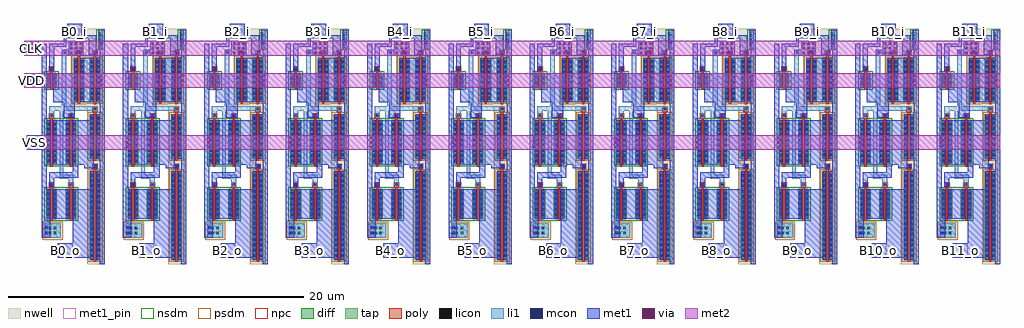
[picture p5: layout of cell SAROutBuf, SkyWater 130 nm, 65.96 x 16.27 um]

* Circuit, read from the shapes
.subckt SAROutBuf B0_i B0_o B10_i B10_o B11_i B11_o B1_i B1_o B2_i B2_o B3_i B3_o B4_i B4_o B5_i B5_o B6_i B6_o B7_i B7_o B8_i B8_o B9_i B9_o CLK VDD VSS
XM1 n1 n2 VSS VSS sky130_fd_pr__nfet_01v8 w=2 l=0.15
XM2 n3 CLK VSS VSS sky130_fd_pr__nfet_01v8 w=3 l=0.15
XM3 n4 B0_i VSS VSS sky130_fd_pr__nfet_01v8 w=1 l=0.15
XM4 B0_o CLK n1 VSS sky130_fd_pr__nfet_01v8 w=2 l=0.15
XM5 n2 n4 n3 VSS sky130_fd_pr__nfet_01v8 w=3 l=0.15
XM6 n5 n6 VSS VSS sky130_fd_pr__nfet_01v8 w=2 l=0.15
XM7 n7 CLK VSS VSS sky130_fd_pr__nfet_01v8 w=3 l=0.15
XM8 n8 B1_i VSS VSS sky130_fd_pr__nfet_01v8 w=1 l=0.15
XM9 B1_o CLK n5 VSS sky130_fd_pr__nfet_01v8 w=2 l=0.15
XM10 n6 n8 n7 VSS sky130_fd_pr__nfet_01v8 w=3 l=0.15
XM11 n9 n10 VSS VSS sky130_fd_pr__nfet_01v8 w=2 l=0.15
XM12 n11 CLK VSS VSS sky130_fd_pr__nfet_01v8 w=3 l=0.15
XM13 n12 B2_i VSS VSS sky130_fd_pr__nfet_01v8 w=1 l=0.15
XM14 B2_o CLK n9 VSS sky130_fd_pr__nfet_01v8 w=2 l=0.15
XM15 n10 n12 n11 VSS sky130_fd_pr__nfet_01v8 w=3 l=0.15
XM16 n13 n14 VSS VSS sky130_fd_pr__nfet_01v8 w=2 l=0.15
XM17 n15 CLK VSS VSS sky130_fd_pr__nfet_01v8 w=3 l=0.15
XM18 n16 B3_i VSS VSS sky130_fd_pr__nfet_01v8 w=1 l=0.15
XM19 B3_o CLK n13 VSS sky130_fd_pr__nfet_01v8 w=2 l=0.15
XM20 n14 n16 n15 VSS sky130_fd_pr__nfet_01v8 w=3 l=0.15
XM21 n17 n18 VSS VSS sky130_fd_pr__nfet_01v8 w=2 l=0.15
XM22 n19 CLK VSS VSS sky130_fd_pr__nfet_01v8 w=3 l=0.15
XM23 n20 B4_i VSS VSS sky130_fd_pr__nfet_01v8 w=1 l=0.15
XM24 B4_o CLK n17 VSS sky130_fd_pr__nfet_01v8 w=2 l=0.15
XM25 n18 n20 n19 VSS sky130_fd_pr__nfet_01v8 w=3 l=0.15
XM26 n21 n22 VSS VSS sky130_fd_pr__nfet_01v8 w=2 l=0.15
XM27 n23 CLK VSS VSS sky130_fd_pr__nfet_01v8 w=3 l=0.15
XM28 n24 B5_i VSS VSS sky130_fd_pr__nfet_01v8 w=1 l=0.15
XM29 B5_o CLK n21 VSS sky130_fd_pr__nfet_01v8 w=2 l=0.15
XM30 n22 n24 n23 VSS sky130_fd_pr__nfet_01v8 w=3 l=0.15
XM31 n25 n26 VSS VSS sky130_fd_pr__nfet_01v8 w=2 l=0.15
XM32 n27 CLK VSS VSS sky130_fd_pr__nfet_01v8 w=3 l=0.15
XM33 n28 B6_i VSS VSS sky130_fd_pr__nfet_01v8 w=1 l=0.15
XM34 B6_o CLK n25 VSS sky130_fd_pr__nfet_01v8 w=2 l=0.15
XM35 n26 n28 n27 VSS sky130_fd_pr__nfet_01v8 w=3 l=0.15
XM36 n29 n30 VSS VSS sky130_fd_pr__nfet_01v8 w=2 l=0.15
XM37 n31 CLK VSS VSS sky130_fd_pr__nfet_01v8 w=3 l=0.15
XM38 n32 B7_i VSS VSS sky130_fd_pr__nfet_01v8 w=1 l=0.15
XM39 B7_o CLK n29 VSS sky130_fd_pr__nfet_01v8 w=2 l=0.15
XM40 n30 n32 n31 VSS sky130_fd_pr__nfet_01v8 w=3 l=0.15
XM41 n33 n34 VSS VSS sky130_fd_pr__nfet_01v8 w=2 l=0.15
XM42 n35 CLK VSS VSS sky130_fd_pr__nfet_01v8 w=3 l=0.15
XM43 n36 B8_i VSS VSS sky130_fd_pr__nfet_01v8 w=1 l=0.15
XM44 B8_o CLK n33 VSS sky130_fd_pr__nfet_01v8 w=2 l=0.15
XM45 n34 n36 n35 VSS sky130_fd_pr__nfet_01v8 w=3 l=0.15
XM46 n37 n38 VSS VSS sky130_fd_pr__nfet_01v8 w=2 l=0.15
XM47 n39 CLK VSS VSS sky130_fd_pr__nfet_01v8 w=3 l=0.15
XM48 n40 B9_i VSS VSS sky130_fd_pr__nfet_01v8 w=1 l=0.15
XM49 B9_o CLK n37 VSS sky130_fd_pr__nfet_01v8 w=2 l=0.15
XM50 n38 n40 n39 VSS sky130_fd_pr__nfet_01v8 w=3 l=0.15
XM51 n41 n42 VSS VSS sky130_fd_pr__nfet_01v8 w=2 l=0.15
XM52 n43 CLK VSS VSS sky130_fd_pr__nfet_01v8 w=3 l=0.15
XM53 n44 B10_i VSS VSS sky130_fd_pr__nfet_01v8 w=1 l=0.15
XM54 B10_o CLK n41 VSS sky130_fd_pr__nfet_01v8 w=2 l=0.15
XM55 n42 n44 n43 VSS sky130_fd_pr__nfet_01v8 w=3 l=0.15
XM56 n45 n46 VSS VSS sky130_fd_pr__nfet_01v8 w=2 l=0.15
XM57 n47 CLK VSS VSS sky130_fd_pr__nfet_01v8 w=3 l=0.15
XM58 n48 B11_i VSS VSS sky130_fd_pr__nfet_01v8 w=1 l=0.15
XM59 B11_o CLK n45 VSS sky130_fd_pr__nfet_01v8 w=2 l=0.15
XM60 n46 n48 n47 VSS sky130_fd_pr__nfet_01v8 w=3 l=0.15
XM61 n49 CLK n4 VDD sky130_fd_pr__pfet_01v8 w=3 l=0.15
XM62 VDD B0_i n49 VDD sky130_fd_pr__pfet_01v8 w=3 l=0.15
XM63 VDD n2 B0_o VDD sky130_fd_pr__pfet_01v8 w=6 l=0.15
XM64 VDD CLK n2 VDD sky130_fd_pr__pfet_01v8 w=3 l=0.15
XM65 n50 CLK n8 VDD sky130_fd_pr__pfet_01v8 w=3 l=0.15
XM66 VDD B1_i n50 VDD sky130_fd_pr__pfet_01v8 w=3 l=0.15
XM67 VDD n6 B1_o VDD sky130_fd_pr__pfet_01v8 w=6 l=0.15
XM68 VDD CLK n6 VDD sky130_fd_pr__pfet_01v8 w=3 l=0.15
XM69 n51 CLK n12 VDD sky130_fd_pr__pfet_01v8 w=3 l=0.15
XM70 VDD B2_i n51 VDD sky130_fd_pr__pfet_01v8 w=3 l=0.15
XM71 VDD n10 B2_o VDD sky130_fd_pr__pfet_01v8 w=6 l=0.15
XM72 VDD CLK n10 VDD sky130_fd_pr__pfet_01v8 w=3 l=0.15
XM73 n52 CLK n16 VDD sky130_fd_pr__pfet_01v8 w=3 l=0.15
XM74 VDD B3_i n52 VDD sky130_fd_pr__pfet_01v8 w=3 l=0.15
XM75 VDD n14 B3_o VDD sky130_fd_pr__pfet_01v8 w=6 l=0.15
XM76 VDD CLK n14 VDD sky130_fd_pr__pfet_01v8 w=3 l=0.15
XM77 n53 CLK n20 VDD sky130_fd_pr__pfet_01v8 w=3 l=0.15
XM78 VDD B4_i n53 VDD sky130_fd_pr__pfet_01v8 w=3 l=0.15
XM79 VDD n18 B4_o VDD sky130_fd_pr__pfet_01v8 w=6 l=0.15
XM80 VDD CLK n18 VDD sky130_fd_pr__pfet_01v8 w=3 l=0.15
XM81 n54 CLK n24 VDD sky130_fd_pr__pfet_01v8 w=3 l=0.15
XM82 VDD B5_i n54 VDD sky130_fd_pr__pfet_01v8 w=3 l=0.15
XM83 VDD n22 B5_o VDD sky130_fd_pr__pfet_01v8 w=6 l=0.15
XM84 VDD CLK n22 VDD sky130_fd_pr__pfet_01v8 w=3 l=0.15
XM85 n55 CLK n28 VDD sky130_fd_pr__pfet_01v8 w=3 l=0.15
XM86 VDD B6_i n55 VDD sky130_fd_pr__pfet_01v8 w=3 l=0.15
XM87 VDD n26 B6_o VDD sky130_fd_pr__pfet_01v8 w=6 l=0.15
XM88 VDD CLK n26 VDD sky130_fd_pr__pfet_01v8 w=3 l=0.15
XM89 n56 CLK n32 VDD sky130_fd_pr__pfet_01v8 w=3 l=0.15
XM90 VDD B7_i n56 VDD sky130_fd_pr__pfet_01v8 w=3 l=0.15
XM91 VDD n30 B7_o VDD sky130_fd_pr__pfet_01v8 w=6 l=0.15
XM92 VDD CLK n30 VDD sky130_fd_pr__pfet_01v8 w=3 l=0.15
XM93 n57 CLK n36 VDD sky130_fd_pr__pfet_01v8 w=3 l=0.15
XM94 VDD B8_i n57 VDD sky130_fd_pr__pfet_01v8 w=3 l=0.15
XM95 VDD n34 B8_o VDD sky130_fd_pr__pfet_01v8 w=6 l=0.15
XM96 VDD CLK n34 VDD sky130_fd_pr__pfet_01v8 w=3 l=0.15
XM97 n58 CLK n40 VDD sky130_fd_pr__pfet_01v8 w=3 l=0.15
XM98 VDD B9_i n58 VDD sky130_fd_pr__pfet_01v8 w=3 l=0.15
XM99 VDD n38 B9_o VDD sky130_fd_pr__pfet_01v8 w=6 l=0.15
XM100 VDD CLK n38 VDD sky130_fd_pr__pfet_01v8 w=3 l=0.15
XM101 n59 CLK n44 VDD sky130_fd_pr__pfet_01v8 w=3 l=0.15
XM102 VDD B10_i n59 VDD sky130_fd_pr__pfet_01v8 w=3 l=0.15
XM103 VDD n42 B10_o VDD sky130_fd_pr__pfet_01v8 w=6 l=0.15
XM104 VDD CLK n42 VDD sky130_fd_pr__pfet_01v8 w=3 l=0.15
XM105 n60 CLK n48 VDD sky130_fd_pr__pfet_01v8 w=3 l=0.15
XM106 VDD B11_i n60 VDD sky130_fd_pr__pfet_01v8 w=3 l=0.15
XM107 VDD n46 B11_o VDD sky130_fd_pr__pfet_01v8 w=6 l=0.15
XM108 VDD CLK n46 VDD sky130_fd_pr__pfet_01v8 w=3 l=0.15
.ends

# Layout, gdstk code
from math import pi, radians
import gdstk
lib = gdstk.Library(unit=1e-6, precision=1e-09)
def R(c, l, rs):  # rectangles x0, y0, x1, y1
    for r in rs: c.add(gdstk.rectangle(r[:2], r[2:], *l))
def A(c, l, x, y, w, h, nx, ny, dx, dy):  # array of equal rectangles
    R(c, l, [(x+i*dx, y+j*dy, x+i*dx+w, y+j*dy+h) for i in range(nx) for j in range(ny)])
nwell = (64, 20)
diff = (65, 20)
tap = (65, 44)
poly = (66, 20)
licon = (66, 44)
li1 = (67, 20)
mcon = (67, 44)
met1_pin = (68, 16)
met1 = (68, 20)
via = (68, 44)
met2 = (69, 20)
nsdm = (93, 44)
psdm = (94, 20)
npc = (95, 20)

sky130_fd_pr__pfet_01v8_ = lib.new_cell('sky130_fd_pr__pfet_01v8_5475HN')
R(sky130_fd_pr__pfet_01v8_, nwell, [(-0.545,-1.99,0.545,1.82)])
R(sky130_fd_pr__pfet_01v8_, diff, [(-0.365,-1.68,0.365,1.32)])
R(sky130_fd_pr__pfet_01v8_, poly, [(-0.075,-1.81,0.075,1.475), (-0.165,1.475,0.165,1.805)])
A(sky130_fd_pr__pfet_01v8_, licon, -0.305, -1.455, 0.17, 0.17, 1, 8, 0, 0.34)
A(sky130_fd_pr__pfet_01v8_, licon, 0.135, -1.455, 0.17, 0.17, 1, 8, 0, 0.34)
R(sky130_fd_pr__pfet_01v8_, licon, [(-0.085,1.555,0.085,1.725)])
R(sky130_fd_pr__pfet_01v8_, li1, [(-0.305,-1.7,-0.135,1.34), (0.135,-1.7,0.305,1.34), (-0.165,1.555,0.165,1.725)])
A(sky130_fd_pr__pfet_01v8_, mcon, -0.305, -1.525, 0.17, 0.17, 1, 8, 0, 0.36)
A(sky130_fd_pr__pfet_01v8_, mcon, 0.135, -1.525, 0.17, 0.17, 1, 8, 0, 0.36)
R(sky130_fd_pr__pfet_01v8_, mcon, [(-0.085,1.555,0.085,1.725)])
R(sky130_fd_pr__pfet_01v8_, met1, [(-0.335,-1.68,-0.105,1.32), (0.105,-1.68,0.335,1.32), (-0.145,1.525,0.145,1.755)])
R(sky130_fd_pr__pfet_01v8_, psdm, [(-0.49,-1.805,0.49,1.445)])
R(sky130_fd_pr__pfet_01v8_, npc, [(-0.185,1.455,0.185,1.825)])

c_sky130_fd_pr__pfet_01v8_ = lib.new_cell('sky130_fd_pr__pfet_01v8_YRA8CD')
R(c_sky130_fd_pr__pfet_01v8_, nwell, [(-0.545,-1.99,0.545,1.82)])
R(c_sky130_fd_pr__pfet_01v8_, diff, [(-0.365,-1.68,0.365,1.32)])
R(c_sky130_fd_pr__pfet_01v8_, poly, [(-0.075,-1.81,0.075,1.475), (-0.165,1.475,0.165,1.805)])
A(c_sky130_fd_pr__pfet_01v8_, licon, -0.305, -1.455, 0.17, 0.17, 1, 8, 0, 0.34)
A(c_sky130_fd_pr__pfet_01v8_, licon, 0.135, -1.455, 0.17, 0.17, 1, 8, 0, 0.34)
R(c_sky130_fd_pr__pfet_01v8_, licon, [(-0.085,1.555,0.085,1.725)])
R(c_sky130_fd_pr__pfet_01v8_, li1, [(-0.305,-1.7,-0.135,1.34), (0.135,-1.7,0.305,1.34), (-0.165,1.555,0.165,1.725)])
A(c_sky130_fd_pr__pfet_01v8_, mcon, -0.305, -1.525, 0.17, 0.17, 1, 8, 0, 0.36)
A(c_sky130_fd_pr__pfet_01v8_, mcon, 0.135, -1.525, 0.17, 0.17, 1, 8, 0, 0.36)
R(c_sky130_fd_pr__pfet_01v8_, met1, [(-0.335,-1.68,-0.105,1.32), (0.105,-1.68,0.335,1.32)])
R(c_sky130_fd_pr__pfet_01v8_, psdm, [(-0.49,-1.805,0.49,1.445)])
R(c_sky130_fd_pr__pfet_01v8_, npc, [(-0.185,1.455,0.185,1.825)])

sky130_fd_pr__nfet_01v8_ = lib.new_cell('sky130_fd_pr__nfet_01v8_NTFR9R')
R(sky130_fd_pr__nfet_01v8_, diff, [(-0.365,-0.655,0.365,0.345)])
R(sky130_fd_pr__nfet_01v8_, poly, [(-0.075,-0.785,0.075,0.455), (-0.165,0.455,0.165,0.785)])
A(sky130_fd_pr__nfet_01v8_, licon, -0.305, -0.58, 0.17, 0.17, 1, 3, 0, 0.34)
A(sky130_fd_pr__nfet_01v8_, licon, 0.135, -0.58, 0.17, 0.17, 1, 3, 0, 0.34)
R(sky130_fd_pr__nfet_01v8_, licon, [(-0.085,0.535,0.085,0.705)])
R(sky130_fd_pr__nfet_01v8_, li1, [(-0.305,-0.675,-0.135,0.365), (0.135,-0.675,0.305,0.365), (-0.165,0.535,0.165,0.705)])
R(sky130_fd_pr__nfet_01v8_, mcon, [(-0.305,-0.42,-0.135,-0.25), (0.135,-0.42,0.305,-0.25), (-0.305,-0.06,-0.135,0.11), (0.135,-0.06,0.305,0.11), (-0.085,0.535,0.085,0.705)])
R(sky130_fd_pr__nfet_01v8_, met1, [(-0.335,-0.655,-0.105,0.345), (0.105,-0.655,0.335,0.345), (-0.145,0.505,0.145,0.735)])
R(sky130_fd_pr__nfet_01v8_, nsdm, [(-0.49,-0.78,0.49,0.47)])
R(sky130_fd_pr__nfet_01v8_, npc, [(-0.185,0.435,0.185,0.805)])

c_sky130_fd_pr__nfet_01v8_ = lib.new_cell('sky130_fd_pr__nfet_01v8_5R7S7E')
R(c_sky130_fd_pr__nfet_01v8_, diff, [(-0.365,-1.655,0.365,1.345)])
R(c_sky130_fd_pr__nfet_01v8_, poly, [(-0.075,-1.785,0.075,1.455), (-0.165,1.455,0.165,1.785)])
A(c_sky130_fd_pr__nfet_01v8_, licon, -0.305, -1.43, 0.17, 0.17, 1, 8, 0, 0.34)
A(c_sky130_fd_pr__nfet_01v8_, licon, 0.135, -1.43, 0.17, 0.17, 1, 8, 0, 0.34)
R(c_sky130_fd_pr__nfet_01v8_, licon, [(-0.085,1.535,0.085,1.705)])
R(c_sky130_fd_pr__nfet_01v8_, li1, [(-0.305,-1.675,-0.135,1.365), (0.135,-1.675,0.305,1.365), (-0.165,1.535,0.165,1.705)])
A(c_sky130_fd_pr__nfet_01v8_, mcon, -0.305, -1.5, 0.17, 0.17, 1, 8, 0, 0.36)
A(c_sky130_fd_pr__nfet_01v8_, mcon, 0.135, -1.5, 0.17, 0.17, 1, 8, 0, 0.36)
R(c_sky130_fd_pr__nfet_01v8_, met1, [(-0.335,-1.655,-0.105,1.345), (0.105,-1.655,0.335,1.345)])
R(c_sky130_fd_pr__nfet_01v8_, nsdm, [(-0.49,-1.78,0.49,1.47)])
R(c_sky130_fd_pr__nfet_01v8_, npc, [(-0.185,1.435,0.185,1.805)])

c_sky130_fd_pr__nfet_01v8__ = lib.new_cell('sky130_fd_pr__nfet_01v8_KNTFKG')
R(c_sky130_fd_pr__nfet_01v8__, diff, [(-0.365,-1.655,0.365,1.345)])
R(c_sky130_fd_pr__nfet_01v8__, poly, [(-0.075,-1.785,0.075,1.455), (-0.165,1.455,0.165,1.785)])
A(c_sky130_fd_pr__nfet_01v8__, licon, -0.305, -1.43, 0.17, 0.17, 1, 8, 0, 0.34)
A(c_sky130_fd_pr__nfet_01v8__, licon, 0.135, -1.43, 0.17, 0.17, 1, 8, 0, 0.34)
R(c_sky130_fd_pr__nfet_01v8__, licon, [(-0.085,1.535,0.085,1.705)])
R(c_sky130_fd_pr__nfet_01v8__, li1, [(-0.305,-1.675,-0.135,1.365), (0.135,-1.675,0.305,1.365), (-0.165,1.535,0.165,1.705)])
A(c_sky130_fd_pr__nfet_01v8__, mcon, -0.305, -1.5, 0.17, 0.17, 1, 8, 0, 0.36)
A(c_sky130_fd_pr__nfet_01v8__, mcon, 0.135, -1.5, 0.17, 0.17, 1, 8, 0, 0.36)
R(c_sky130_fd_pr__nfet_01v8__, mcon, [(-0.085,1.535,0.085,1.705)])
R(c_sky130_fd_pr__nfet_01v8__, met1, [(-0.335,-1.655,-0.105,1.345), (0.105,-1.655,0.335,1.345), (-0.145,1.505,0.145,1.735)])
R(c_sky130_fd_pr__nfet_01v8__, nsdm, [(-0.49,-1.78,0.49,1.47)])
R(c_sky130_fd_pr__nfet_01v8__, npc, [(-0.185,1.435,0.185,1.805)])

c_sky130_fd_pr__nfet_01v8___ = lib.new_cell('sky130_fd_pr__nfet_01v8_28RQMS')
R(c_sky130_fd_pr__nfet_01v8___, diff, [(-0.365,-1.155,0.365,0.845)])
R(c_sky130_fd_pr__nfet_01v8___, poly, [(-0.075,-1.285,0.075,0.955), (-0.165,0.955,0.165,1.285)])
A(c_sky130_fd_pr__nfet_01v8___, licon, -0.305, -1.09, 0.17, 0.17, 1, 6, 0, 0.34)
A(c_sky130_fd_pr__nfet_01v8___, licon, 0.135, -1.09, 0.17, 0.17, 1, 6, 0, 0.34)
R(c_sky130_fd_pr__nfet_01v8___, licon, [(-0.085,1.035,0.085,1.205)])
R(c_sky130_fd_pr__nfet_01v8___, li1, [(-0.305,-1.175,-0.135,0.865), (0.135,-1.175,0.305,0.865), (-0.165,1.035,0.165,1.205)])
A(c_sky130_fd_pr__nfet_01v8___, mcon, -0.305, -0.96, 0.17, 0.17, 1, 5, 0, 0.36)
A(c_sky130_fd_pr__nfet_01v8___, mcon, 0.135, -0.96, 0.17, 0.17, 1, 5, 0, 0.36)
R(c_sky130_fd_pr__nfet_01v8___, mcon, [(-0.085,1.035,0.085,1.205)])
R(c_sky130_fd_pr__nfet_01v8___, met1, [(-0.335,-1.155,-0.105,0.845), (0.105,-1.155,0.335,0.845), (-0.145,1.005,0.145,1.235)])
R(c_sky130_fd_pr__nfet_01v8___, nsdm, [(-0.49,-1.28,0.49,0.97)])
R(c_sky130_fd_pr__nfet_01v8___, npc, [(-0.185,0.935,0.185,1.305)])

c_sky130_fd_pr__pfet_01v8__ = lib.new_cell('sky130_fd_pr__pfet_01v8_C6DMSJ')
R(c_sky130_fd_pr__pfet_01v8__, nwell, [(-0.545,-3.49,0.545,3.32)])
R(c_sky130_fd_pr__pfet_01v8__, diff, [(-0.365,-3.18,0.365,2.82)])
R(c_sky130_fd_pr__pfet_01v8__, poly, [(-0.075,-3.31,0.075,2.975), (-0.165,2.975,0.165,3.305)])
A(c_sky130_fd_pr__pfet_01v8__, licon, -0.305, -2.985, 0.17, 0.17, 1, 17, 0, 0.34)
A(c_sky130_fd_pr__pfet_01v8__, licon, 0.135, -2.985, 0.17, 0.17, 1, 17, 0, 0.34)
R(c_sky130_fd_pr__pfet_01v8__, licon, [(-0.085,3.055,0.085,3.225)])
R(c_sky130_fd_pr__pfet_01v8__, li1, [(-0.305,-3.2,-0.135,2.84), (0.135,-3.2,0.305,2.84), (-0.165,3.055,0.165,3.225)])
A(c_sky130_fd_pr__pfet_01v8__, mcon, -0.305, -2.965, 0.17, 0.17, 1, 16, 0, 0.36)
A(c_sky130_fd_pr__pfet_01v8__, mcon, 0.135, -2.965, 0.17, 0.17, 1, 16, 0, 0.36)
R(c_sky130_fd_pr__pfet_01v8__, mcon, [(-0.085,3.055,0.085,3.225)])
R(c_sky130_fd_pr__pfet_01v8__, met1, [(-0.335,-3.18,-0.105,2.82), (0.105,-3.18,0.335,2.82), (-0.145,3.025,0.145,3.255)])
R(c_sky130_fd_pr__pfet_01v8__, psdm, [(-0.49,-3.305,0.49,2.945)])
R(c_sky130_fd_pr__pfet_01v8__, npc, [(-0.185,2.955,0.185,3.325)])

c_sky130_fd_pr__nfet_01v8____ = lib.new_cell('sky130_fd_pr__nfet_01v8_TUG65L')
R(c_sky130_fd_pr__nfet_01v8____, diff, [(-0.365,-1.155,0.365,0.845)])
R(c_sky130_fd_pr__nfet_01v8____, poly, [(-0.075,-1.285,0.075,0.955), (-0.165,0.955,0.165,1.285)])
A(c_sky130_fd_pr__nfet_01v8____, licon, -0.305, -1.09, 0.17, 0.17, 1, 6, 0, 0.34)
A(c_sky130_fd_pr__nfet_01v8____, licon, 0.135, -1.09, 0.17, 0.17, 1, 6, 0, 0.34)
R(c_sky130_fd_pr__nfet_01v8____, licon, [(-0.085,1.035,0.085,1.205)])
R(c_sky130_fd_pr__nfet_01v8____, li1, [(-0.305,-1.175,-0.135,0.865), (0.135,-1.175,0.305,0.865), (-0.165,1.035,0.165,1.205)])
A(c_sky130_fd_pr__nfet_01v8____, mcon, -0.305, -0.96, 0.17, 0.17, 1, 5, 0, 0.36)
A(c_sky130_fd_pr__nfet_01v8____, mcon, 0.135, -0.96, 0.17, 0.17, 1, 5, 0, 0.36)
R(c_sky130_fd_pr__nfet_01v8____, met1, [(-0.335,-1.155,-0.105,0.845), (0.105,-1.155,0.335,0.845)])
R(c_sky130_fd_pr__nfet_01v8____, nsdm, [(-0.49,-1.28,0.49,0.97)])
R(c_sky130_fd_pr__nfet_01v8____, npc, [(-0.185,0.935,0.185,1.305)])

register_tspc = lib.new_cell('Register_tspc')
R(register_tspc, nwell, [(6.75,-1.44,7.82,-1.11), (5.67,-1.11,7.82,0.74), (10.64,-0.35,17.45,0.74), (5.67,0.74,7.49,0.85)])
R(register_tspc, tap, [(18.81,-3.23,19.79,-2.13), (5.85,0.4,6.96,0.57)])
A(register_tspc, licon, 5.98, 0.4, 0.17, 0.17, 3, 1, 0.34, 0)
R(register_tspc, licon, [(19.025,-2.95,19.195,-2.78), (19.365,-2.95,19.535,-2.78), (19.025,-2.61,19.195,-2.44), (19.365,-2.61,19.535,-2.44)])
R(register_tspc, li1, [(18.81,-3.23,19.79,-2.13), (10.9,-2.91,11.65,-2.58), (10.9,-2.58,11.21,-2.2), (10.9,-2.2,15.78,-2.05), (7.08,-2.05,15.78,-1.96), (7.08,-1.96,11.21,-1.74), (15.53,-1.96,15.78,-1.6), (7.08,-1.74,7.48,-1.59), (10.9,-1.74,11.21,0.36), (15.53,-1.6,16.31,-1.27), (5.85,0.4,6.96,0.57), (6.06,0.57,6.96,0.7)])
R(register_tspc, mcon, [(19.005,-3.16,19.175,-2.99), (19.365,-3.16,19.535,-2.99), (7.19,-1.925,7.36,-1.755), (6.49,0.48,6.66,0.65)])
R(register_tspc, met1_pin, [(6.66,-3.42,7.66,-3.08), (20.14,-2.33,21.14,-1.33), (5.67,-1.69,6.31,-0.91), (6.48,-1.59,7.48,-0.59), (5.73,0.44,7.04,0.85)])
R(register_tspc, met1, [(6.66,-3.42,19.79,-3.08), (18.38,-3.08,19.79,-2.85), (6.66,-2.91,8.49,-2.58), (15.37,-2.91,16.34,-2.58), (8.65,-2.64,10.62,-1.93), (11.84,-2.64,14.84,-1.54), (16.5,-2.64,18.5,-1.54), (6.66,-2.58,6.88,-1.93), (15.37,-2.58,15.73,-1.33), (20.14,-2.33,21.14,-1.33), (7.08,-2.05,7.48,-1.59), (6.09,-1.93,6.88,-1.74), (8.65,-1.93,11.68,-1.18), (6.09,-1.74,6.31,-1.69), (5.67,-1.69,6.31,-0.91), (6.48,-1.59,7.48,-0.59), (11.84,-1.33,15.73,-0.95), (16.5,-1.33,21.14,-0.04), (8.65,-1.18,10.62,-1), (11.84,-0.95,14.84,-0.54), (6.09,-0.91,6.31,-0.24), (7.62,-0.79,10.62,0.09), (11.84,-0.54,15.07,0.09), (6.09,-0.24,7.41,0.28), (18.22,-0.04,21.14,0.02), (14.8,0.09,15.07,0.34), (5.73,0.44,7.04,0.52), (5.73,0.52,21.58,0.85)])
R(register_tspc, nsdm, [(11.715,-2.255,14.965,-1.925), (16.375,-2.255,18.625,-1.925), (5.725,0.275,7.085,0.695)])
R(register_tspc, psdm, [(18.685,-3.355,19.915,-2.005), (7.495,-0.405,10.74,-0.3)])
register_tspc.add(gdstk.Reference(sky130_fd_pr__pfet_01v8_, (8.935,0.19), rotation=pi/2))
register_tspc.add(gdstk.Reference(c_sky130_fd_pr__pfet_01v8_, (12.76,0.195), rotation=pi/2))
register_tspc.add(gdstk.Reference(sky130_fd_pr__nfet_01v8_, (8.995,-2.745), rotation=pi/2))
register_tspc.add(gdstk.Reference(c_sky130_fd_pr__nfet_01v8_, (13.185,-2.745), rotation=pi/2))
register_tspc.add(gdstk.Reference(c_sky130_fd_pr__nfet_01v8__, (13.185,-1.435), rotation=pi/2))
register_tspc.add(gdstk.Reference(c_sky130_fd_pr__nfet_01v8___, (17.345,-2.745), rotation=pi/2))
register_tspc.add(gdstk.Reference(sky130_fd_pr__pfet_01v8_, (8.94,-0.895), rotation=pi/2))
register_tspc.add(gdstk.Reference(c_sky130_fd_pr__pfet_01v8__, (18.09,0.195), rotation=pi/2))
register_tspc.add(gdstk.Reference(c_sky130_fd_pr__nfet_01v8____, (17.345,-1.435), rotation=pi/2))
register_tspc.add(gdstk.Label('VDD', (6.385,0.645), layer=68, texttype=5))
register_tspc.add(gdstk.Label('VSS', (7.16,-3.25), layer=68, texttype=5))
register_tspc.add(gdstk.Label('Qc', (20.64,-1.83), layer=68, texttype=5))
register_tspc.add(gdstk.Label('CLK', (6.98,-1.09), layer=68, texttype=5))
register_tspc.add(gdstk.Label('D', (5.99,-1.3), layer=68, texttype=5))

saroutbuf = lib.new_cell('SAROutBuf')
A(saroutbuf, met1_pin, 1.75, 0.44, 1, 1, 12, 1, 5.5, 0)
A(saroutbuf, met1_pin, 18.89, 15.27, 1, 1, 9, 1, 5.5, 0)
R(saroutbuf, met1_pin, [(-0.34,7.73,0.66,8.73), (-0.53,11.93,0.47,12.93), (-0.53,14.1,0.47,15.1), (2.39,15.27,3.39,16.27), (7.89,15.27,8.89,16.27), (13.39,15.27,14.39,16.26)])
A(saroutbuf, met1, 1.75, 0.44, 1, 1, 12, 1, 5.5, 0)
A(saroutbuf, met1, 0.69, 7.76, 0.51, 0.94, 12, 1, 5.5, 0)
A(saroutbuf, met1, 4.41, 11.96, 0.49, 0.94, 12, 1, 5.5, 0)
A(saroutbuf, met1, 2.52, 14.13, 0.94, 0.94, 12, 1, 5.5, 0)
A(saroutbuf, met1, 18.89, 15.27, 1, 1, 9, 1, 5.5, 0)
R(saroutbuf, met1, [(-0.34,7.73,0.66,8.73), (-0.53,11.93,0.47,12.93), (-0.53,14.1,0.47,15.1), (2.39,15.27,3.39,16.27), (7.89,15.27,8.89,16.27), (13.39,15.27,14.39,16.26)])
A(saroutbuf, via, 0.87, 7.835, 0.15, 0.15, 12, 3, 5.5, 0.32)
A(saroutbuf, via, -0.425, 12.035, 0.15, 0.15, 3, 3, 0.32, 0.32)
A(saroutbuf, via, 4.58, 12.035, 0.15, 0.15, 12, 3, 5.5, 0.32)
A(saroutbuf, via, -0.425, 14.205, 0.15, 0.15, 3, 3, 0.32, 0.32)
A(saroutbuf, via, 2.595, 14.205, 0.15, 0.15, 3, 3, 0.32, 0.32)
A(saroutbuf, via, 8.095, 14.205, 0.15, 0.15, 3, 3, 0.32, 0.32)
A(saroutbuf, via, 13.595, 14.205, 0.15, 0.15, 3, 3, 0.32, 0.32)
A(saroutbuf, via, 19.095, 14.205, 0.15, 0.15, 3, 3, 0.32, 0.32)
A(saroutbuf, via, 24.595, 14.205, 0.15, 0.15, 3, 3, 0.32, 0.32)
A(saroutbuf, via, 30.095, 14.205, 0.15, 0.15, 3, 3, 0.32, 0.32)
A(saroutbuf, via, 35.595, 14.205, 0.15, 0.15, 3, 3, 0.32, 0.32)
A(saroutbuf, via, 41.095, 14.205, 0.15, 0.15, 3, 3, 0.32, 0.32)
A(saroutbuf, via, 46.595, 14.205, 0.15, 0.15, 3, 3, 0.32, 0.32)
A(saroutbuf, via, 52.095, 14.205, 0.15, 0.15, 3, 3, 0.32, 0.32)
A(saroutbuf, via, 57.595, 14.205, 0.15, 0.15, 3, 3, 0.32, 0.32)
A(saroutbuf, via, 63.095, 14.205, 0.15, 0.15, 3, 3, 0.32, 0.32)
R(saroutbuf, met2, [(0.66,7.73,65.43,8.73), (-0.53,11.93,65.43,12.93), (-0.53,14.1,65.43,15.1)])
saroutbuf.add(gdstk.Reference(register_tspc, (64.58,21.58), rotation=3*pi/2))
saroutbuf.add(gdstk.Reference(register_tspc, (59.08,21.58), rotation=3*pi/2))
saroutbuf.add(gdstk.Reference(register_tspc, (53.58,21.58), rotation=3*pi/2))
saroutbuf.add(gdstk.Reference(register_tspc, (48.08,21.58), rotation=3*pi/2))
saroutbuf.add(gdstk.Reference(register_tspc, (42.58,21.58), rotation=3*pi/2))
saroutbuf.add(gdstk.Reference(register_tspc, (31.58,21.58), rotation=3*pi/2))
saroutbuf.add(gdstk.Reference(register_tspc, (26.08,21.58), rotation=3*pi/2))
saroutbuf.add(gdstk.Reference(register_tspc, (20.58,21.58), rotation=3*pi/2))
saroutbuf.add(gdstk.Reference(register_tspc, (15.08,21.58), rotation=3*pi/2))
saroutbuf.add(gdstk.Reference(register_tspc, (9.58,21.58), rotation=3*pi/2))
saroutbuf.add(gdstk.Reference(register_tspc, (37.08,21.58), rotation=3*pi/2))
saroutbuf.add(gdstk.Reference(register_tspc, (4.08,21.58), rotation=3*pi/2))
saroutbuf.add(gdstk.Label('B1_o', (7.75,0.94), layer=68, texttype=5))
saroutbuf.add(gdstk.Label('B2_o', (13.25,0.94), layer=68, texttype=5))
saroutbuf.add(gdstk.Label('B4_o', (24.25,0.94), layer=68, texttype=5))
saroutbuf.add(gdstk.Label('B6_o', (35.25,0.94), layer=68, texttype=5))
saroutbuf.add(gdstk.Label('B7_o', (40.75,0.94), layer=68, texttype=5))
saroutbuf.add(gdstk.Label('VDD', (-0.03,12.43), layer=68, texttype=5))
saroutbuf.add(gdstk.Label('B9_o', (51.75,0.94), layer=68, texttype=5))
saroutbuf.add(gdstk.Label('VSS', (0.16,8.23), layer=68, texttype=5))
saroutbuf.add(gdstk.Label('B3_o', (18.75,0.94), layer=68, texttype=5))
saroutbuf.add(gdstk.Label('CLK', (-0.03,14.6), layer=68, texttype=5))
saroutbuf.add(gdstk.Label('B0_i', (2.89,15.77), layer=68, texttype=5))
saroutbuf.add(gdstk.Label('B10_o', (57.25,0.94), layer=68, texttype=5))
saroutbuf.add(gdstk.Label('B6_i', (35.89,15.77), layer=68, texttype=5))
saroutbuf.add(gdstk.Label('B1_i', (8.39,15.77), layer=68, texttype=5))
saroutbuf.add(gdstk.Label('B11_o', (62.75,0.94), layer=68, texttype=5))
saroutbuf.add(gdstk.Label('B10_i', (57.89,15.77), layer=68, texttype=5))
saroutbuf.add(gdstk.Label('B3_i', (19.39,15.77), layer=68, texttype=5))
saroutbuf.add(gdstk.Label('B0_o', (2.25,0.94), layer=68, texttype=5))
saroutbuf.add(gdstk.Label('B2_i', (13.89,15.765), layer=68, texttype=5))
saroutbuf.add(gdstk.Label('B4_i', (24.89,15.77), layer=68, texttype=5))
saroutbuf.add(gdstk.Label('B5_o', (29.75,0.94), layer=68, texttype=5))
saroutbuf.add(gdstk.Label('B7_i', (41.39,15.77), layer=68, texttype=5))
saroutbuf.add(gdstk.Label('B8_i', (46.89,15.77), layer=68, texttype=5))
saroutbuf.add(gdstk.Label('B11_i', (63.39,15.77), layer=68, texttype=5))
saroutbuf.add(gdstk.Label('B9_i', (52.39,15.77), layer=68, texttype=5))
saroutbuf.add(gdstk.Label('B8_o', (46.25,0.94), layer=68, texttype=5))
saroutbuf.add(gdstk.Label('B5_i', (30.39,15.77), layer=68, texttype=5))

lib.write_gds('SAROutBuf.gds')
